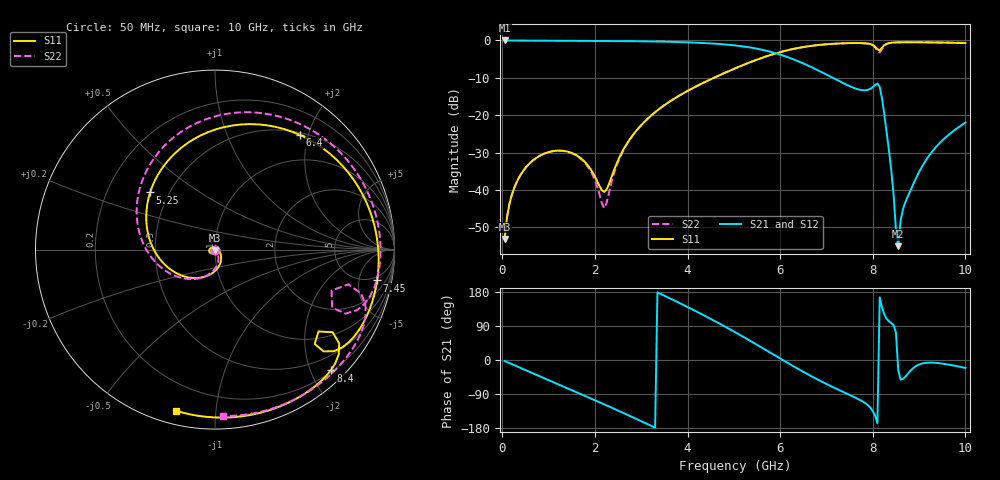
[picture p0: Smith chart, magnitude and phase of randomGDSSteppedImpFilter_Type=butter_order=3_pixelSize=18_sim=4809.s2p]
! freq	dB(S11)	phase(S11)	dB(S12)	phase(S12)
!  dB(S21)	phase(S21)	dB(S22)	phase(S22)
!S-par simulation data
#  GHz  S  DB  R 50
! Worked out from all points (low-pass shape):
!   200 points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, 50 MHz to 10 GHz, reference 50 ohm
!   highest |S21| = 0.00 dB at 50 MHz (marker M1); lowest = -55.1 dB at 8.55 GHz (marker M2)
!   |S21| within 3 dB of the highest: start of sweep to 5.781 GHz
!   lowest |S11| = -53.1 dB at 50 MHz (marker M3), VSWR 1.00, Z = 50 - j0.217 ohm
!   |S11| at or under -10 dB: start of sweep to 4.571 GHz
!   |S22| runs from -53.1 to -0.5 dB; largest |S21 - S12| = 0
!   S11 on the Smith chart (normalised r, x): 50 MHz: 1.00, -0.00; 5.25 GHz: 0.39, +0.33; 6.4 GHz: 0.54, +1.87; 7.45 GHz: 3.97, -8.84; 8.4 GHz: 0.23, -2.32; 10 GHz: 0.06, -0.78
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0.05  -53.15 -80.2  -0.00 -2.7  -0.00 -2.7  -53.14 -79.9
0.25  -39.73 -102.0  -0.02 -13.2  -0.02 -13.2  -39.72 -100.4
0.6  -32.79 -124.0  -0.04 -31.7  -0.04 -31.7  -32.78 -120.1
1.75  -32.11 160.3  -0.11 -92.6  -0.11 -92.6  -32.35 -173.6
2.2  -40.54 65.0  -0.14 -117.0  -0.14 -117.0  -44.86 -121.3
2.65  -28.46 -36.2  -0.18 -141.8  -0.18 -141.8  -28.64 -62.5
3.4  -18.24 -91.8  -0.31 175.5  -0.31 175.5  -18.22 -96.6
4.3  -11.60 -152.8  -0.66 121.2  -0.66 121.2  -11.55 -146.1
5.05  -7.37 153.5  -1.37 71.8  -1.37 71.8  -7.33 167.9
5.25  -6.34 138.6  -1.69 57.9  -1.69 57.9  -6.32 154.7
5.8  -3.86 97.2  -3.06 18.4  -3.06 18.4  -3.86 116.5
6.4  -1.99 53.4  -5.62 -24.5  -5.62 -24.5  -2.00 74.1
6.7  -1.41 33.2  -7.30 -44.6  -7.30 -44.6  -1.42 54.0
7.45  -0.73 -10.8  -11.96 -89.3  -11.96 -89.3  -0.73 8.9
8  -1.20 -40.6  -12.50 -134.6  -12.50 -134.6  -1.31 -23.1
8.15  -2.67 -38.3  -12.47 165.1  -12.47 165.1  -3.25 -19.4
8.35  -0.70 -43.4  -29.49 102.0  -29.49 102.0  -0.75 -23.8
8.4  -0.61 -46.3  -34.85 97.3  -34.85 97.3  -0.63 -27.0
8.55  -0.51 -53.5  -55.06 -26.2  -55.06 -26.2  -0.50 -34.8
8.65  -0.49 -57.8  -45.27 -50.2  -45.27 -50.2  -0.47 -39.4
9.05  -0.50 -72.8  -34.07 -9.8  -34.07 -9.8  -0.47 -55.3
10  -0.69 -103.7  -22.00 -20.9  -22.00 -20.9  -0.65 -87.3
